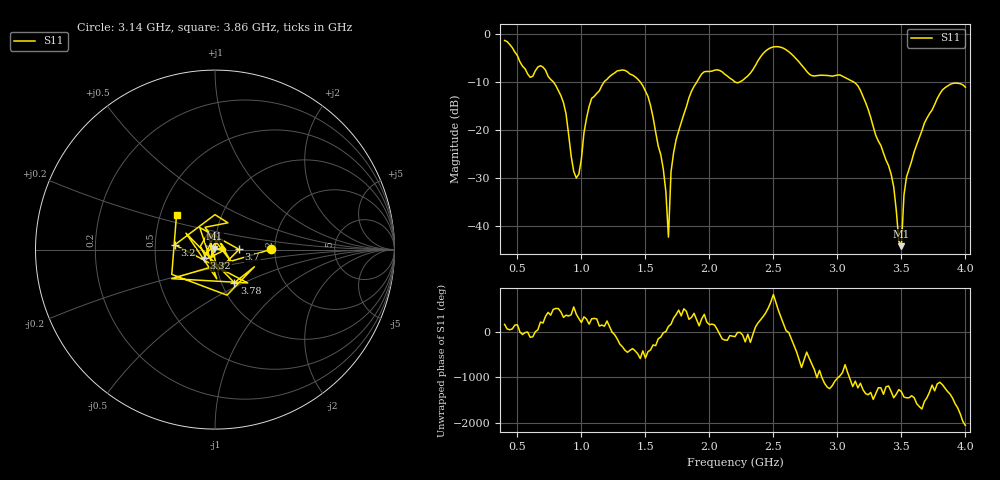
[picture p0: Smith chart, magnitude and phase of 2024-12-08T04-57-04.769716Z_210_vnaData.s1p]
!Created with skrf (http://scikit-rf.org).
# Hz S RI R 50.0
!freq ReS11 ImS11
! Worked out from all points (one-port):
!   181 points, 400 MHz to 4 GHz, reference 50 ohm
!   lowest |S11| = -44.2 dB at 3.5 GHz (marker M1), VSWR 1.01, Z = 49.6 + j0.469 ohm
!   |S11| at or under -10 dB: 782.9 MHz to 1.176 GHz (392.7 MHz wide, 40.1 % of centre); 1.462 GHz to 1.901 GHz (439 MHz wide, 26.1 % of centre); 3.131 GHz to end of sweep (the widest 3 of 4)
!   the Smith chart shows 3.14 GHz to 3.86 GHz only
!   S11 on the Smith chart (normalised r, x): 3.14 GHz: 1.90, +0.00; 3.2 GHz: 0.63, +0.04; 3.32 GHz: 0.88, -0.08; 3.7 GHz: 1.31, +0.00; 3.78 GHz: 1.15, -0.45; 3.86 GHz: 0.61, +0.26
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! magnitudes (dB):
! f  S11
! 400 MHz  -1.3
! 600 MHz  -9.0
! 700 MHz  -6.8
! 860 MHz  -14.3
! 960 MHz  -29.9
! 1.08 GHz  -13.4
! 1.3 GHz  -7.5
! 1.52 GHz  -12.9
! 1.64 GHz  -28.1
! 1.68 GHz  -42.3
! 1.7 GHz  -28.7
! 1.76 GHz  -20.1
! 1.94 GHz  -8.3
! 2.2 GHz  -9.9
! 2.48 GHz  -2.8
! 2.66 GHz  -4.6
! 3.1 GHz  -9.6
! 3.14 GHz  -10.2
! 3.2 GHz  -12.9
! 3.32 GHz  -22.3
! 3.42 GHz  -29.2
! 3.5 GHz  -44.2
! 3.52 GHz  -33.5
! 3.56 GHz  -28.1
! 3.7 GHz  -17.5
! 3.78 GHz  -13.4
! 3.86 GHz  -10.8
! 4 GHz  -11.0
